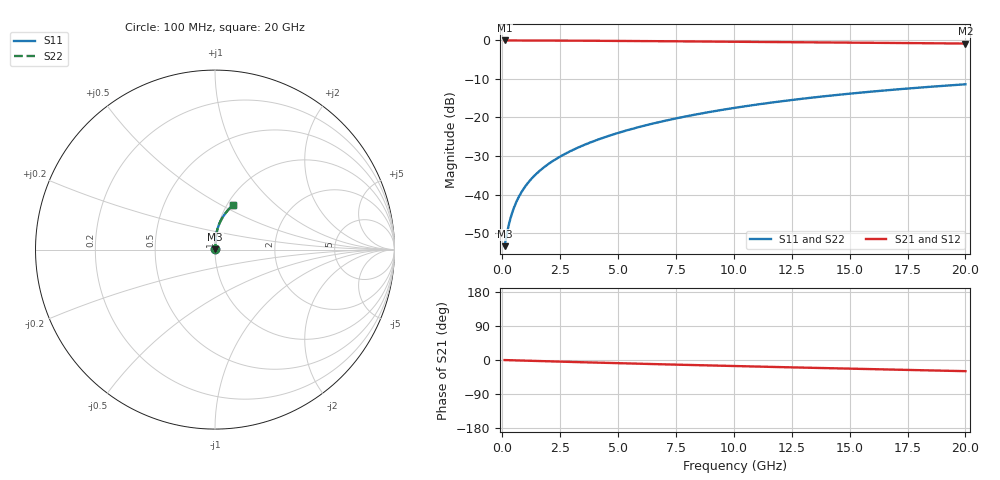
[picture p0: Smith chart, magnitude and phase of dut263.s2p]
! Touchstone file exported from HFSS 2024.1.0
!  File:  C:/UserFiles/LocalFiles/RDL_TSV_Batchsim/temp_RDL_bottom_263_1778702232.aedt
!  Generated:  03:59:31 AM May 14, 2026
!  Design:  RDL_bottom
!  Project:  temp_RDL_bottom_263_1778702232
!  Setup:  Setup1
!  Solution:  Sweep
! Variables:
!  dtsv = 10.80580581um
!  hbump = 3um
!  htsv = 68.89um
!  ldown = 433.14um
!  lrdl = 100um
!  p = 40
!  p1 = 44.35um
!  rhole = 1um
!  t = 450um
!  tdown = 4.9um
!  trdl = 3.915915916um
!  wdown = 21.04um
!  wrdl = 20um
# GHz S MA R 50.000000
! Terminal data exported
! Port[1] = RDL1_T1
! Port[2] = RDL1_T2
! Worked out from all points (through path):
!   200 points, 100 MHz to 20 GHz, reference 50 ohm
!   highest |S21| = -0.01 dB at 100 MHz (marker M1); lowest = -0.8 dB at 20 GHz (marker M2)
!   group delay of S21, straight-line fit = 4.05 ps
!   lowest |S11| = -53.4 dB at 100 MHz (marker M3), VSWR 1.00, Z = 50.2 + j0.137 ohm
!   |S11| at or under -10 dB: start of sweep to end of sweep
!   |S22| runs from -53.4 to -11.4 dB; largest |S21 - S12| = 3.2e-15
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0.1  0.002139 39.6  0.9983 -0.2  0.9983 -0.2  0.002139 39.6
! Gamma 0 0 0 0
! Port Impedance 50 0 50 0
0.2  0.003135 59.1  0.9982 -0.4  0.9982 -0.4  0.003136 59.1
0.3  0.004284 68.4  0.9981 -0.5  0.9981 -0.5  0.004287 68.4
0.4  0.005483 73.4  0.998 -0.7  0.998 -0.7  0.005486 73.3
0.5  0.006701 76.3  0.9979 -0.9  0.9979 -0.9  0.006705 76.3
0.6  0.007928 78.3  0.9977 -1.1  0.9977 -1.1  0.007932 78.3
0.8  0.01039 80.6  0.9975 -1.4  0.9975 -1.4  0.01039 80.6
1.1  0.01407 82.4  0.9971 -1.9  0.9971 -1.9  0.01407 82.4
1.5  0.01894 83.7  0.9965 -2.6  0.9965 -2.6  0.01894 83.7
1.8  0.02258 84.3  0.9959 -3.1  0.9959 -3.1  0.02258 84.3
2.1  0.02623 84.8  0.9952 -3.6  0.9952 -3.6  0.02623 84.8
2.7  0.03358 85.5  0.9935 -4.6  0.9935 -4.6  0.03358 85.5
3.5  0.04357 85.9  0.9909 -6.0  0.9909 -6.0  0.04357 85.9
4.2  0.05252 86.1  0.9882 -7.1  0.9882 -7.1  0.05252 86.1
5  0.063 86.0  0.9849 -8.4  0.9849 -8.4  0.063 86.0
6.8  0.08746 85.0  0.9766 -11.2  0.9766 -11.2  0.08746 85.0
8.4  0.11 83.5  0.9688 -13.6  0.9688 -13.6  0.11 83.5
10.1  0.1343 81.5  0.9604 -16.1  0.9604 -16.1  0.1343 81.6
11.7  0.1572 79.4  0.9524 -18.3  0.9524 -18.3  0.1572 79.4
13.4  0.1813 77.1  0.9439 -20.7  0.9439 -20.7  0.1813 77.1
16.7  0.2267 72.3  0.9273 -25.1  0.9273 -25.1  0.2267 72.3
20  0.2695 67.6  0.9104 -29.4  0.9104 -29.4  0.2695 67.6
